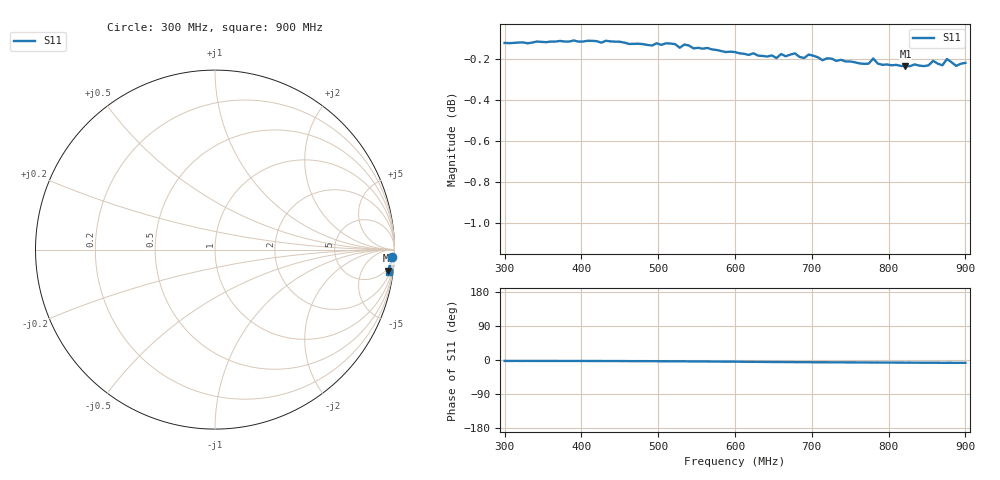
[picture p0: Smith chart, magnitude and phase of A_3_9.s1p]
# HZ S RI R 50
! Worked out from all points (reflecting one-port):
!   101 points, 300 MHz to 900 MHz, reference 50 ohm
!   lowest |S11| = -0.2 dB at 822 MHz (marker M1), VSWR 73.52, Z = 175 - j781 ohm
!   phase of S11 starts at -2 deg and turns -5 deg over the sweep
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3e8  0.9851 -0.0409
3.06e8  0.9849 -0.0428
3.3e8  0.9848 -0.0414
3.78e8  0.9857 -0.0437
4.5e8  0.9853 -0.0488
5.16e8  0.9839 -0.0578
5.28e8  0.9814 -0.0598
5.34e8  0.9831 -0.061
6e8  0.9779 -0.0757
6.48e8  0.9749 -0.0898
6.54e8  0.9735 -0.0897
6.78e8  0.9755 -0.0957
6.9e8  0.9728 -0.0971
7.02e8  0.9736 -0.1015
7.14e8  0.971 -0.102
7.5e8  0.9697 -0.108
7.74e8  0.9681 -0.1113
7.8e8  0.9707 -0.1135
7.92e8  0.9672 -0.114
8.22e8  0.9659 -0.1183
8.28e8  0.966 -0.1176
8.46e8  0.9654 -0.123
8.58e8  0.9683 -0.1227
8.7e8  0.9654 -0.1267
8.76e8  0.9691 -0.1247
8.82e8  0.9673 -0.1244
8.88e8  0.9649 -0.1275
9e8  0.9668 -0.1264
